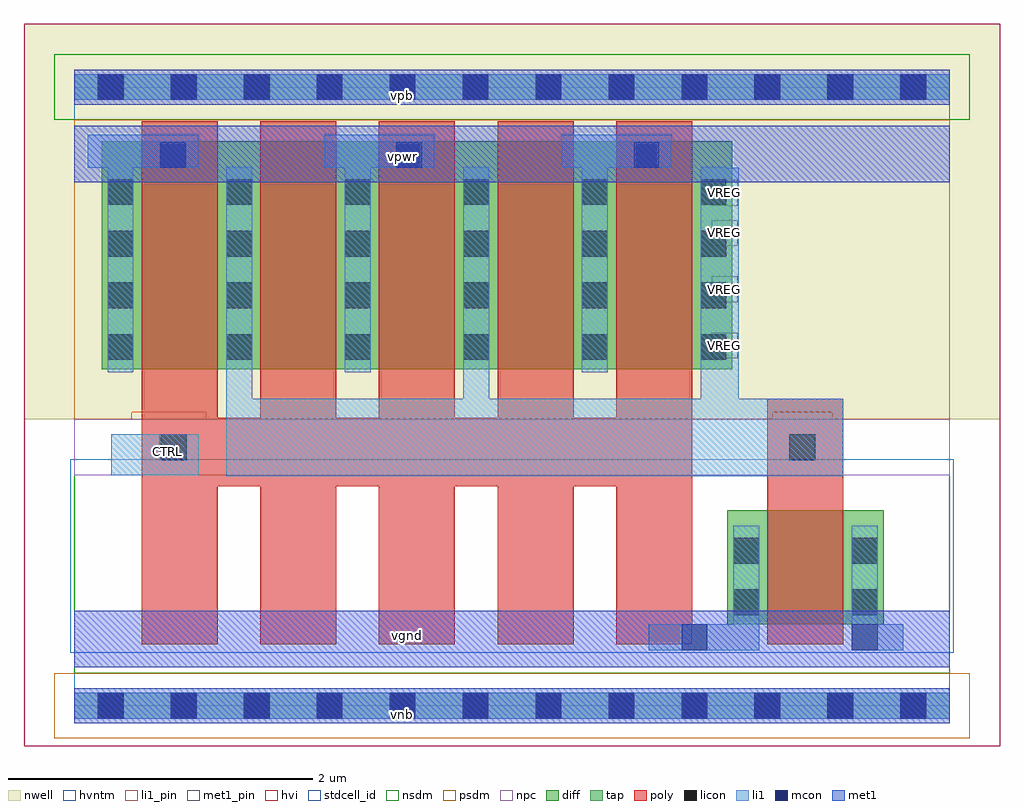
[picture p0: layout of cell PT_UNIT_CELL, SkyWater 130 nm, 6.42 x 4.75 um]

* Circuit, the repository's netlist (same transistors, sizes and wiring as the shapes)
.SUBCKT PT_UNIT_CELL CTRL VGND VNB VPB VPWR VREG
MTNAM1 VGND VREG VGND VNB sky130_fd_pr__nfet_g5v0d10v5 m=1 w=0.75 l=0.50
MTPAM1 VREG CTRL VPWR VPB sky130_fd_pr__pfet_g5v0d10v5 m=5 w=1.50 l=0.50
.ENDS

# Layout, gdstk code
from math import pi, radians
import gdstk
lib = gdstk.Library(unit=1e-6, precision=1e-09)
def R(c, l, rs):  # rectangles x0, y0, x1, y1
    for r in rs: c.add(gdstk.rectangle(r[:2], r[2:], *l))
def A(c, l, x, y, w, h, nx, ny, dx, dy):  # array of equal rectangles
    R(c, l, [(x+i*dx, y+j*dy, x+i*dx+w, y+j*dy+h) for i in range(nx) for j in range(ny)])
nwell = (64, 20)
diff = (65, 20)
tap = (65, 44)
poly = (66, 20)
licon = (66, 44)
li1_pin = (67, 16)
li1 = (67, 20)
mcon = (67, 44)
met1_pin = (68, 16)
met1 = (68, 20)
hvi = (75, 20)
stdcell_id = (81, 4)
nsdm = (93, 44)
psdm = (94, 20)
npc = (95, 20)
hvntm = (125, 20)

dfl1sd_cdns_607746670722 = lib.new_cell('DFL1sd_CDNS_607746670722')
R(dfl1sd_cdns_607746670722, nwell, [(-0.18,-0.18,0.445,1.68)])
R(dfl1sd_cdns_607746670722, diff, [(0,0,0.265,1.5)])
A(dfl1sd_cdns_607746670722, licon, 0.055, 0.06, 0.17, 0.17, 1, 4, 0, 0.34)
R(dfl1sd_cdns_607746670722, li1, [(0.055,-0.02,0.225,1.33)])
R(dfl1sd_cdns_607746670722, psdm, [(-0.125,-0.125,0.39,1.625)])

dfl1sd2_cdns_60774667072 = lib.new_cell('DFL1sd2_CDNS_607746670723')
R(dfl1sd2_cdns_60774667072, nwell, [(-0.18,-0.18,0.46,1.68)])
R(dfl1sd2_cdns_60774667072, diff, [(0,0,0.28,1.5)])
A(dfl1sd2_cdns_60774667072, licon, 0.055, 0.06, 0.17, 0.17, 1, 4, 0, 0.34)
R(dfl1sd2_cdns_60774667072, li1, [(0.055,-0.02,0.225,1.33)])
R(dfl1sd2_cdns_60774667072, psdm, [(-0.125,-0.125,0.405,1.625)])

pfet_symbolic_cdns_60774 = lib.new_cell('pfet_symbolic_CDNS_607746670721')
R(pfet_symbolic_cdns_60774, nwell, [(-0.445,-0.18,4.065,1.68)])
A(pfet_symbolic_cdns_60774, diff, 0, 0, 0.5, 1.5, 5, 1, 0.78, 0)
R(pfet_symbolic_cdns_60774, diff, [(-0.25,0,0,1.5), (3.62,0,3.87,1.5)])
A(pfet_symbolic_cdns_60774, poly, 0, -0.13, 0.5, 1.76, 5, 1, 0.78, 0)
A(pfet_symbolic_cdns_60774, poly, 0, -0.13, 0.5, 0.13, 5, 2, 0.78, 1.63)
A(pfet_symbolic_cdns_60774, li1, -0.225, -0.02, 0.17, 1.35, 6, 1, 0.78, 0)
A(pfet_symbolic_cdns_60774, psdm, -0.25, -0.125, 0.75, 1.75, 4, 1, 0.78, 0)
R(pfet_symbolic_cdns_60774, psdm, [(2.87,-0.125,3.87,1.625)])
pfet_symbolic_cdns_60774.add(gdstk.Reference(dfl1sd_cdns_607746670722, (3.62,0)))
pfet_symbolic_cdns_60774.add(gdstk.Reference(dfl1sd_cdns_607746670722, (0,0), rotation=pi, x_reflection=True))
pfet_symbolic_cdns_60774.add(gdstk.Reference(dfl1sd2_cdns_60774667072, (2.84,0)))
pfet_symbolic_cdns_60774.add(gdstk.Reference(dfl1sd2_cdns_60774667072, (2.06,0)))
pfet_symbolic_cdns_60774.add(gdstk.Reference(dfl1sd2_cdns_60774667072, (1.28,0)))
pfet_symbolic_cdns_60774.add(gdstk.Reference(dfl1sd2_cdns_60774667072, (0.5,0)))
pfet_symbolic_cdns_60774.add(gdstk.Label('D', (3.76,0.655), layer=83, texttype=44))
pfet_symbolic_cdns_60774.add(gdstk.Label('S', (2.98,0.655), layer=83, texttype=44))
pfet_symbolic_cdns_60774.add(gdstk.Label('D', (2.2,0.655), layer=83, texttype=44))
pfet_symbolic_cdns_60774.add(gdstk.Label('S', (1.42,0.655), layer=83, texttype=44))
pfet_symbolic_cdns_60774.add(gdstk.Label('D', (0.64,0.655), layer=83, texttype=44))
pfet_symbolic_cdns_60774.add(gdstk.Label('S', (-0.14,0.655), layer=83, texttype=44))

pfet_cdns_607746670720 = lib.new_cell('pfet_CDNS_607746670720')
R(pfet_cdns_607746670720, nwell, [(-0.595,-0.33,4.215,1.83)])
R(pfet_cdns_607746670720, hvi, [(-0.595,-0.33,4.215,1.83)])
pfet_cdns_607746670720.add(gdstk.Reference(pfet_symbolic_cdns_60774, (0,0)))

dfl1sd_cdns_607746670726 = lib.new_cell('DFL1sd_CDNS_607746670726')
R(dfl1sd_cdns_607746670726, diff, [(0,0,0.265,0.75)])
R(dfl1sd_cdns_607746670726, licon, [(0.055,0.06,0.225,0.23), (0.055,0.4,0.225,0.57)])
R(dfl1sd_cdns_607746670726, li1, [(0.055,-0.02,0.225,0.65)])
R(dfl1sd_cdns_607746670726, nsdm, [(-0.125,-0.125,0.39,0.875)])

nfet_symbolic_cdns_60774 = lib.new_cell('nfet_symbolic_CDNS_607746670725')
R(nfet_symbolic_cdns_60774, diff, [(-0.25,0,0,0.75), (0,0,0.5,0.75), (0.5,0,0.75,0.75)])
R(nfet_symbolic_cdns_60774, poly, [(0,-0.13,0.5,0.88), (0,-0.13,0.5,0), (0,0.75,0.5,0.88)])
R(nfet_symbolic_cdns_60774, li1, [(-0.225,-0.02,-0.055,0.65), (0.555,-0.02,0.725,0.65)])
R(nfet_symbolic_cdns_60774, nsdm, [(-0.25,-0.125,0.75,0.875)])
nfet_symbolic_cdns_60774.add(gdstk.Reference(dfl1sd_cdns_607746670726, (0.5,0)))
nfet_symbolic_cdns_60774.add(gdstk.Reference(dfl1sd_cdns_607746670726, (0,0), rotation=pi, x_reflection=True))
nfet_symbolic_cdns_60774.add(gdstk.Label('D', (0.64,0.315), layer=83, texttype=44))
nfet_symbolic_cdns_60774.add(gdstk.Label('S', (-0.14,0.315), layer=83, texttype=44))

nfet_cdns_607746670724 = lib.new_cell('nfet_CDNS_607746670724')
R(nfet_cdns_607746670724, hvi, [(-0.445,-0.18,0.945,0.93)])
nfet_cdns_607746670724.add(gdstk.Reference(nfet_symbolic_cdns_60774, (0,0)))

pt_unit_cell = lib.new_cell('PT_UNIT_CELL')
R(pt_unit_cell, nwell, [(-0.33,1.885,6.09,4.485)])
R(pt_unit_cell, tap, [(0,-0.085,5.76,0.085), (0,3.985,5.76,4.155)])
A(pt_unit_cell, poly, 0.445, 0.405, 0.5, 1.04, 5, 1, 0.78, 0)
A(pt_unit_cell, poly, 0.445, 1.895, 0.5, 0.19, 4, 1, 0.78, 0)
R(pt_unit_cell, poly, [(4.56,1.415,5.06,2.02), (0.445,1.445,4.065,1.895), (3.565,1.89,4.065,2.085)])
A(pt_unit_cell, licon, 0.155, -0.085, 0.17, 0.17, 12, 2, 0.48, 4.07)
R(pt_unit_cell, licon, [(0.57,1.615,0.74,1.785), (4.705,1.615,4.875,1.785)])
A(pt_unit_cell, li1_pin, 4.195, 2.285, 0.17, 0.17, 1, 3, 0, 0.37)
R(pt_unit_cell, li1_pin, [(0.56,1.615,0.73,1.785), (4.195,3.29,4.365,3.46), (2.075,3.985,2.245,4.155)])
R(pt_unit_cell, li1, [(0,-0.085,5.76,0.085), (3.78,0.365,4.505,0.535), (5.115,0.365,5.455,0.535), (1,1.51,5.06,2.02), (0.245,1.515,0.82,1.785), (1,2.015,1.17,2.195), (2.56,2.015,2.73,2.195), (4.12,2.02,4.29,2.195), (4.29,2.02,4.37,3.54), (0.09,3.54,0.815,3.755), (1.645,3.54,2.37,3.755), (3.205,3.54,3.93,3.755), (0,3.985,5.76,4.155)])
A(pt_unit_cell, mcon, 3.995, 3.985, 0.17, 0.17, 4, 1, 0.48, 0)
R(pt_unit_cell, mcon, [(0.155,-0.085,0.325,0.085), (0.155,-0.085,0.325,0.085), (0.635,-0.085,0.805,0.085), (0.635,-0.085,0.805,0.085), (1.115,-0.085,1.285,0.085), (1.115,-0.085,1.285,0.085), (1.595,-0.085,1.765,0.085), (1.595,-0.085,1.765,0.085), (2.075,-0.085,2.245,0.085), (2.075,-0.085,2.245,0.085), (2.555,-0.085,2.725,0.085), (2.555,-0.085,2.725,0.085), (3.035,-0.085,3.205,0.085), (3.035,-0.085,3.205,0.085), (3.515,-0.085,3.685,0.085), (3.515,-0.085,3.685,0.085), (3.995,-0.085,4.165,0.085), (3.995,-0.085,4.165,0.085), (4.475,-0.085,4.645,0.085), (4.475,-0.085,4.645,0.085), (4.955,-0.085,5.125,0.085), (4.955,-0.085,5.125,0.085), (5.435,-0.085,5.605,0.085), (5.435,-0.085,5.605,0.085), (3.995,0.365,4.165,0.535), (5.115,0.365,5.285,0.535), (0.565,3.54,0.735,3.71), (2.12,3.54,2.29,3.71), (3.68,3.54,3.85,3.71), (0.155,3.985,0.325,4.155), (0.155,3.985,0.325,4.155), (0.635,3.985,0.805,4.155), (0.635,3.985,0.805,4.155), (1.115,3.985,1.285,4.155), (1.115,3.985,1.285,4.155), (1.595,3.985,1.765,4.155), (1.595,3.985,1.765,4.155), (2.075,3.985,2.245,4.155), (2.075,3.985,2.245,4.155), (2.555,3.985,2.725,4.155), (2.555,3.985,2.725,4.155), (3.035,3.985,3.205,4.155), (3.035,3.985,3.205,4.155), (3.515,3.985,3.685,4.155), (3.515,3.985,3.685,4.155), (3.995,3.985,4.165,4.155)])
R(pt_unit_cell, met1_pin, [(0,0,5.76,0.115), (0,0.255,5.76,0.625), (0,3.445,5.76,3.815), (0,3.955,5.76,4.07)])
R(pt_unit_cell, met1, [(0,-0.115,5.76,0.115), (0,0.255,5.76,0.625), (0,3.445,5.76,3.815), (0,3.955,5.76,4.185)])
R(pt_unit_cell, hvi, [(-0.33,-0.265,6.09,4.485)])
R(pt_unit_cell, stdcell_id, [(0,0,5.76,4.07)])
R(pt_unit_cell, nsdm, [(0,0.215,5.76,1.885), (-0.13,3.855,5.89,4.285)])
R(pt_unit_cell, psdm, [(-0.13,-0.215,5.89,0.215), (0,1.885,0.38,1.93), (0.865,1.885,4.595,1.93), (4.985,1.885,5.76,1.93), (0,1.93,5.76,3.855)])
R(pt_unit_cell, npc, [(0,1.515,5.76,1.885)])
R(pt_unit_cell, hvntm, [(-0.025,0.35,5.785,1.62)])
pt_unit_cell.add(gdstk.Reference(pfet_cdns_607746670720, (0.445,2.215)))
pt_unit_cell.add(gdstk.Reference(nfet_cdns_607746670724, (4.56,0.535)))
pt_unit_cell.add(gdstk.Label('VREG', (4.28,2.37), layer=67, texttype=5))
pt_unit_cell.add(gdstk.Label('VREG', (4.28,2.74), layer=67, texttype=5))
pt_unit_cell.add(gdstk.Label('VREG', (4.28,3.11), layer=67, texttype=5))
pt_unit_cell.add(gdstk.Label('VREG', (4.28,3.375), layer=67, texttype=5))
pt_unit_cell.add(gdstk.Label('CTRL', (0.615,1.67), layer=67, texttype=5))
pt_unit_cell.add(gdstk.Label('vgnd', (2.19,0.46), layer=68, texttype=5))
pt_unit_cell.add(gdstk.Label('vnb', (2.16,-0.057), layer=68, texttype=5))
pt_unit_cell.add(gdstk.Label('vpwr', (2.16,3.61), layer=68, texttype=5))
pt_unit_cell.add(gdstk.Label('vpb', (2.16,4.013), layer=68, texttype=5))

lib.write_gds('PT_UNIT_CELL.gds')
